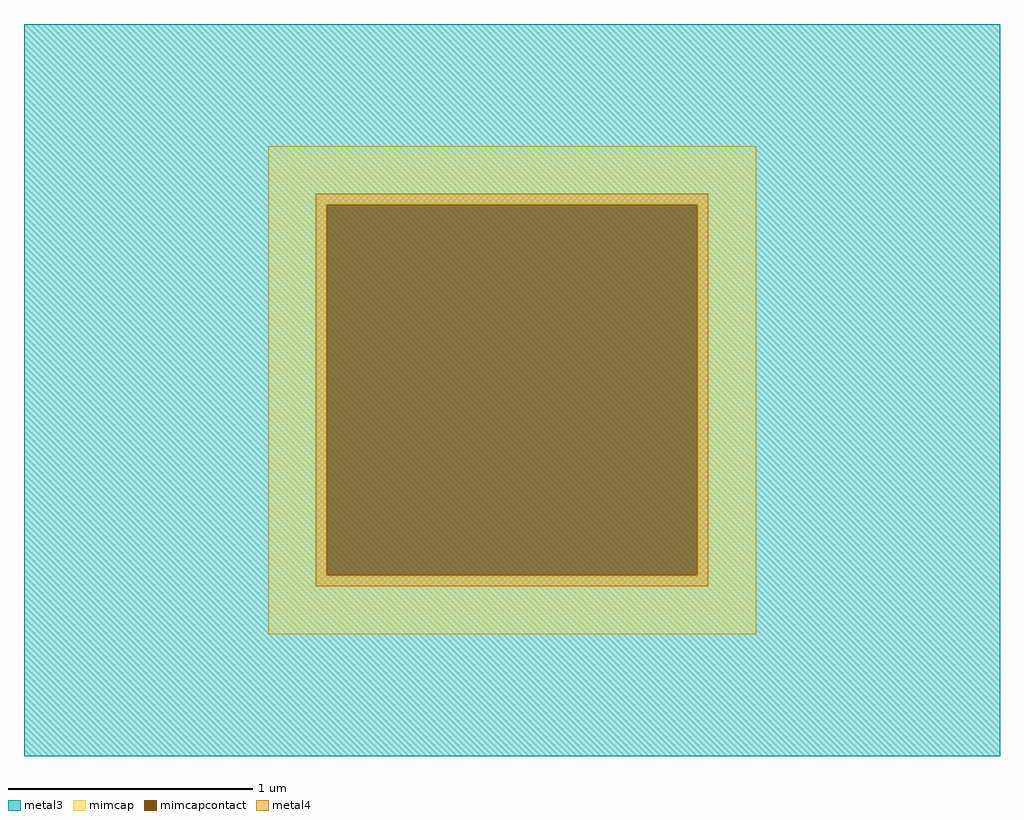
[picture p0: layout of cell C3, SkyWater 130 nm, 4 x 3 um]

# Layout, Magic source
magic
tech sky130B
magscale 1 2
<< metal3 >>
rect -450 -340 350 260
<< mimcap >>
rect -250 112 150 160
rect -250 -192 -202 112
rect 102 -192 150 112
rect -250 -240 150 -192
<< mimcapcontact >>
rect -202 -192 102 112
<< metal4 >>
rect -211 112 111 121
rect -211 -192 -202 112
rect 102 -192 111 112
rect -211 -201 111 -192
<< properties >>
string FIXED_BBOX -350 -340 250 260
<< end >>
